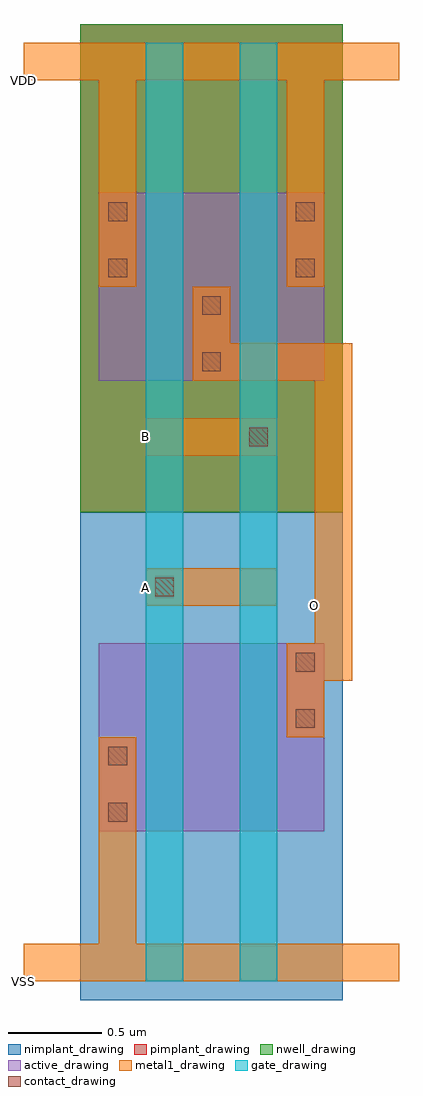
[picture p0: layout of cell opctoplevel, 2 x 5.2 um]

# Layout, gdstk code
import gdstk
lib = gdstk.Library(unit=1e-6, precision=1e-09)
def R(c, l, rs):  # rectangles x0, y0, x1, y1
    for r in rs: c.add(gdstk.rectangle(r[:2], r[2:], *l))
active_drawing = (1, 0)
nwell_drawing = (3, 0)
pimplant_drawing = (4, 0)
nimplant_drawing = (5, 0)
gate_drawing = (6, 0)
contact_drawing = (7, 0)
metal1_drawing = (8, 0)

opctoplevel = lib.new_cell('opctoplevel')
R(opctoplevel, active_drawing, [(-0.25,0,0.45,1), (0.25,0,0.95,1), (-0.25,2.4,0.45,3.4), (0.25,2.4,0.95,3.4)])
R(opctoplevel, nwell_drawing, [(-0.35,1.7,0.55,4.3), (0.15,1.7,1.05,4.3)])
R(opctoplevel, pimplant_drawing, [(-0.35,1.7,0.55,4.3), (0.15,1.7,1.05,4.3)])
R(opctoplevel, nimplant_drawing, [(-0.35,-0.9,0.55,1.7), (0.15,-0.9,1.05,1.7)])
R(opctoplevel, gate_drawing, [(0,-0.8,0.2,1.7), (0.5,-0.8,0.7,2.2), (0,1.7,0.2,4.2), (0.5,1.7,0.7,4.2)])
R(opctoplevel, contact_drawing, [(-0.2,0.05,-0.1,0.15), (-0.2,0.35,-0.1,0.45), (0.8,0.55,0.9,0.65), (0.8,0.85,0.9,0.95), (0.05,1.25,0.15,1.35), (0.55,2.05,0.65,2.15), (0.3,2.45,0.4,2.55), (0.3,2.75,0.4,2.85), (-0.2,2.95,-0.1,3.05), (0.8,2.95,0.9,3.05), (-0.2,3.25,-0.1,3.35), (0.8,3.25,0.9,3.35)])
R(opctoplevel, metal1_drawing, [(-0.65,-0.8,1.35,-0.6), (-0.25,-0.6,-0.05,0), (-0.25,0,-0.05,0.5), (0.75,0.5,0.95,1), (0,1.2,0.2,1.4), (0,1.2,0.7,1.4), (0,2,0.7,2.2), (0.5,2,0.7,2.2), (0.25,2.4,0.45,2.9), (-0.25,2.9,-0.05,3.4), (0.75,2.9,0.95,3.4), (-0.25,3.4,-0.05,4), (0.75,3.4,0.95,4), (-0.65,4,1.35,4.2)])
opctoplevel.add(gdstk.FlexPath([(0.95,0.9),(1,0.9),(1,2.5),(0.45,2.5)], 0.2, ends="flush", simple_path=True, layer=8, datatype=0))  # metal1_drawing
opctoplevel.add(gdstk.Label('A', (0,1.3), layer=8, texttype=1))
opctoplevel.add(gdstk.Label('B', (0,2.1), layer=8, texttype=1))
opctoplevel.add(gdstk.Label('O', (0.9,1.2), layer=8, texttype=1))
opctoplevel.add(gdstk.Label('VDD', (-0.65,4), layer=8, texttype=1))
opctoplevel.add(gdstk.Label('VSS', (-0.65,-0.8), layer=8, texttype=1))

lib.write_gds('opctoplevel.gds')
